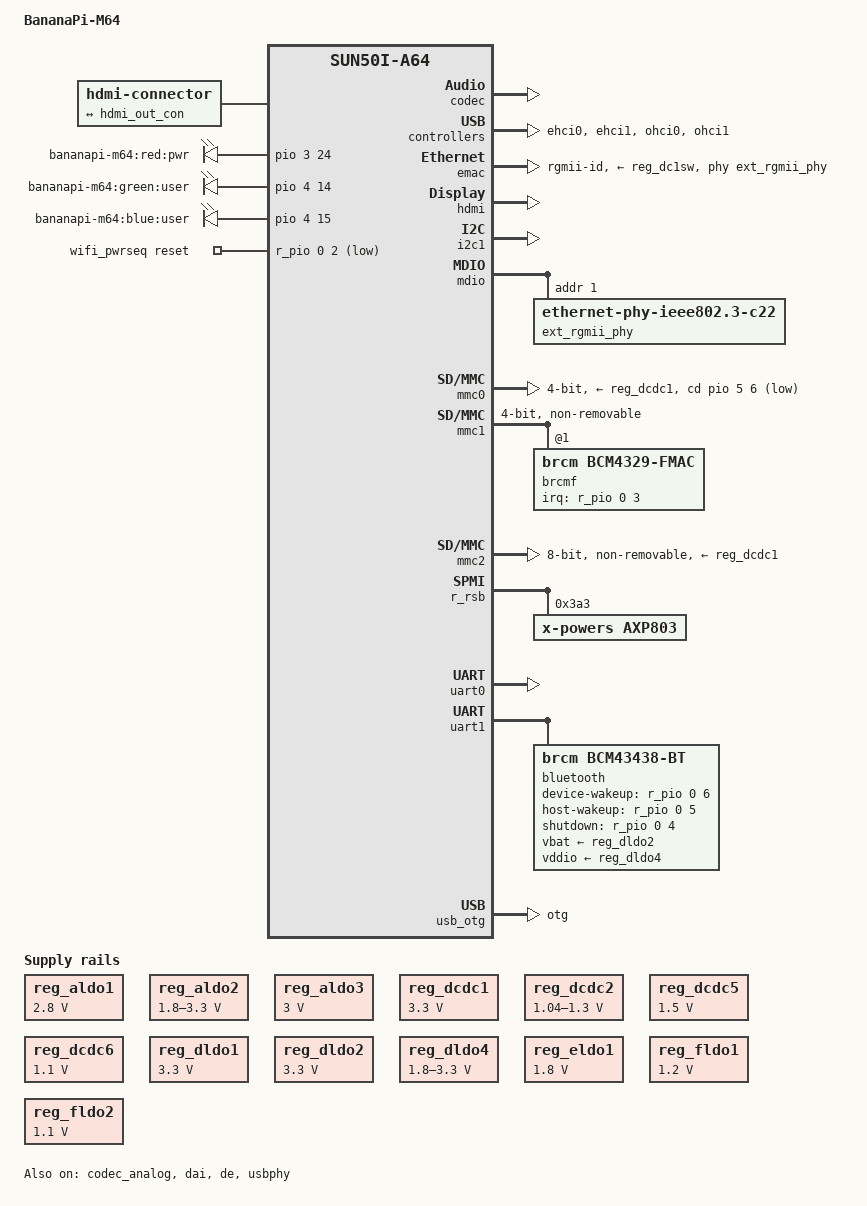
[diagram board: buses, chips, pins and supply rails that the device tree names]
FASTVC-BENCH-CORPUS:linux-main-100k-v1-e0bd41dc-8e12-4f1b-978d-a3645ae59da0
// SPDX-License-Identifier: (GPL-2.0+ OR MIT)
// Copyright (c) 2016 ARM Ltd.
/* bench 15146.0.0 e925ffc25cc7 */

/dts-v1/;

#include "sun50i-a64.dtsi"
#include "sun50i-a64-cpu-opp.dtsi"

#include <dt-bindings/gpio/gpio.h>

/ {
	model = "BananaPi-M64";
	compatible = "sinovoip,bananapi-m64", "allwinner,sun50i-a64";

	aliases {
		ethernet0 = &emac;
		serial0 = &uart0;
		serial1 = &uart1;
	};

	chosen {
		stdout-path = "serial0:115200n8";
	};

	hdmi-connector {
		compatible = "hdmi-connector";
		type = "a";

		port {
			hdmi_con_in: endpoint {
				remote-endpoint = <&hdmi_out_con>;
			};
		};
	};

	leds {
		compatible = "gpio-leds";

		led-0 {
			label = "bananapi-m64:red:pwr";
			gpios = <&pio 3 24 GPIO_ACTIVE_HIGH>; /* PD24 */
			default-state = "on";
		};

		led-1 {
			label = "bananapi-m64:green:user";
			gpios = <&pio 4 14 GPIO_ACTIVE_HIGH>; /* PE14 */
		};

		led-2 {
			label = "bananapi-m64:blue:user";
			gpios = <&pio 4 15 GPIO_ACTIVE_HIGH>; /* PE15 */
		};
	};

	wifi_pwrseq: wifi_pwrseq {
		compatible = "mmc-pwrseq-simple";
		reset-gpios = <&r_pio 0 2 GPIO_ACTIVE_LOW>; /* PL2 */
		clocks = <&rtc 1>;
		clock-names = "ext_clock";
	};
};

&codec {
	status = "okay";
};

&codec_analog {
	cpvdd-supply = <&reg_eldo1>;
	status = "okay";
};

&cpu0 {
	cpu-supply = <&reg_dcdc2>;
};

&cpu1 {
	cpu-supply = <&reg_dcdc2>;
};

&cpu2 {
	cpu-supply = <&reg_dcdc2>;
};

&cpu3 {
	cpu-supply = <&reg_dcdc2>;
};

&dai {
	status = "okay";
};

&de {
	status = "okay";
};

&ehci0 {
	status = "okay";
};

&ehci1 {
	status = "okay";
};

&emac {
	pinctrl-names = "default";
	pinctrl-0 = <&rgmii_pins>;
	phy-mode = "rgmii-id";
	phy-handle = <&ext_rgmii_phy>;
	phy-supply = <&reg_dc1sw>;
	status = "okay";
};

&hdmi {
	hvcc-supply = <&reg_dldo1>;
	status = "okay";
};

&hdmi_out {
	hdmi_out_con: endpoint {
		remote-endpoint = <&hdmi_con_in>;
	};
};

&i2c1 {
	status = "okay";
};

&i2c1_pins {
	bias-pull-up;
};
/* bench 23669.0.0 83d9597a7df4 */
/* bench 23669.0.1 63ed89d49cc1 */
/* bench 23669.0.2 2d459c6733e1 */
/* bench 23669.0.3 99776b5c7f6b */
/* bench 23669.0.4 420cbacee9f6 */
/* bench 23669.0.5 c86022beaeb6 */
/* bench 23669.0.6 f70a3897b69d */
/* bench 23669.0.7 d4cd2a5953bb */
/* bench 23669.0.8 5f84ff30eb8c */
/* bench 23669.0.9 82c03dd2ba17 */
&mdio {
	ext_rgmii_phy: ethernet-phy@1 {
		compatible = "ethernet-phy-ieee802.3-c22";
		reg = <1>;
	};
};

&mmc0 {
	pinctrl-names = "default";
	pinctrl-0 = <&mmc0_pins>;
	vmmc-supply = <&reg_dcdc1>;
	cd-gpios = <&pio 5 6 GPIO_ACTIVE_LOW>;
	disable-wp;
	bus-width = <4>;
	status = "okay";
};

&mmc1 {
/* bench 6228.2.0 a28419f7c95a */
	vqmmc-supply = <&reg_dldo4>;
	mmc-pwrseq = <&wifi_pwrseq>;
	bus-width = <4>;
	non-removable;
	status = "okay";

	brcmf: wifi@1 {
		reg = <1>;
		compatible = "brcm,bcm4329-fmac";
		interrupt-parent = <&r_pio>;
		interrupts = <0 3 IRQ_TYPE_LEVEL_LOW>; /* PL3 */
		interrupt-names = "host-wake";
	};
};

&mmc2 {
	pinctrl-names = "default";
	pinctrl-0 = <&mmc2_pins>, <&mmc2_ds_pin>;
	vmmc-supply = <&reg_dcdc1>;
	bus-width = <8>;
	non-removable;
	cap-mmc-hw-reset;
	status = "okay";
};

&ohci0 {
	status = "okay";
};

&ohci1 {
	status = "okay";
};

&r_rsb {
	status = "okay";

	axp803: pmic@3a3 {
		compatible = "x-powers,axp803";
		reg = <0x3a3>;
		interrupt-parent = <&r_intc>;
		interrupts = <0 IRQ_TYPE_LEVEL_LOW>;
		x-powers,drive-vbus-en; /* set N_VBUSEN as output pin */
	};
};

#include "axp803.dtsi"

&ac_power_supply {
	status = "okay";
};

&battery_power_supply {
	status = "okay";
};

&reg_aldo1 {
	/*
	 * This regulator also drives the PE pingroup GPIOs,
	 * which also controls two LEDs.
	 */
	regulator-always-on;
	regulator-min-microvolt = <2800000>;
	regulator-max-microvolt = <2800000>;
	regulator-name = "afvcc-csi";
};

&reg_aldo2 {
	regulator-always-on;
	regulator-min-microvolt = <1800000>;
	regulator-max-microvolt = <3300000>;
	regulator-name = "vcc-pl";
};

&reg_aldo3 {
	regulator-always-on;
	regulator-min-microvolt = <3000000>;
	regulator-max-microvolt = <3000000>;
	regulator-name = "vcc-pll-avcc";
};

&reg_dc1sw {
	/*
	 * This regulator also indirectly drives the PD pingroup GPIOs,
	 * which also controls the power LED.
	 */
	regulator-always-on;
	regulator-name = "vcc-phy";
};

&reg_dcdc1 {
	regulator-always-on;
	regulator-min-microvolt = <3300000>;
/* bench 8802.2.0 c073989569de */
/* bench 8802.2.1 e0ba7e87ad58 */
/* bench 8802.2.2 944ccc8eed7d */
/* bench 8802.2.3 456c99b3f733 */
/* bench 8802.2.4 b0a600f1c132 */
/* bench 8802.2.5 7eef0321ba84 */
/* bench 8802.2.6 c566466774ac */
/* bench 8802.2.7 b44597260942 */
/* bench 8802.2.8 0e1464167225 */
/* bench 8802.2.9 08f2e5046e02 */
/* bench 8802.2.10 4cbf759c6657 */
/* bench 8802.2.11 0a56adc86601 */
/* bench 8802.2.12 23b6c1beca33 */
/* bench 8802.2.13 44262b71cde5 */
/* bench 8802.2.14 74c17025ea60 */
/* bench 8802.2.15 4cb73e64ebcd */
/* bench 8802.2.16 59454de09c8e */
/* bench 8802.2.17 f913bf77bc35 */
/* bench 8802.2.18 de21073885c9 */
/* bench 8802.2.19 33ac7293a392 */
/* bench 8802.2.20 5f38764ed01e */
};

&reg_dcdc2 {
	regulator-always-on;
	regulator-min-microvolt = <1040000>;
	regulator-max-microvolt = <1300000>;
	regulator-name = "vdd-cpux";
};

/* DCDC3 is polyphased with DCDC2 */

&reg_dcdc5 {
	regulator-always-on;
	regulator-min-microvolt = <1500000>;
	regulator-max-microvolt = <1500000>;
	regulator-name = "vcc-dram";
};

&reg_dcdc6 {
	regulator-always-on;
	regulator-min-microvolt = <1100000>;
	regulator-max-microvolt = <1100000>;
	regulator-name = "vdd-sys";
};

&reg_dldo1 {
	regulator-min-microvolt = <3300000>;
	regulator-max-microvolt = <3300000>;
	regulator-name = "vcc-hdmi-dsi";
};

&reg_dldo2 {
	regulator-min-microvolt = <3300000>;
	regulator-max-microvolt = <3300000>;
	regulator-name = "vcc-wifi";
};

&reg_dldo4 {
	regulator-min-microvolt = <1800000>;
	regulator-max-microvolt = <3300000>;
	regulator-name = "vcc-wifi-io";
};

&reg_drivevbus {
	regulator-name = "usb0-vbus";
	status = "okay";
};

&reg_eldo1 {
	regulator-min-microvolt = <1800000>;
	regulator-max-microvolt = <1800000>;
	regulator-name = "cpvdd";
};

&reg_fldo1 {
	regulator-min-microvolt = <1200000>;
	regulator-max-microvolt = <1200000>;
	regulator-name = "vcc-1v2-hsic";
};

/*
 * The A64 chip cannot work without this regulator off, although
 * it seems to be only driving the AR100 core.
 * Maybe we don't still know well about CPUs domain.
 */
&reg_fldo2 {
	regulator-always-on;
	regulator-min-microvolt = <1100000>;
	regulator-max-microvolt = <1100000>;
	regulator-name = "vdd-cpus";
};

&reg_rtc_ldo {
	regulator-name = "vcc-rtc";
};

&simplefb_hdmi {
	vcc-hdmi-supply = <&reg_dldo1>;
};

&sound {
	status = "okay";
	simple-audio-card,widgets = "Headphone", "Headphone Jack",
				    "Microphone", "Microphone Jack",
				    "Microphone", "Onboard Microphone";
	simple-audio-card,routing =
			"Left DAC", "DACL",
			"Right DAC", "DACR",
			"ADCL", "Left ADC",
			"ADCR", "Right ADC",
			"Headphone Jack", "HP",
			"MIC2", "Microphone Jack",
			"Onboard Microphone", "MBIAS",
			"MIC1", "Onboard Microphone";
};

&uart0 {
	pinctrl-names = "default";
	pinctrl-0 = <&uart0_pb_pins>;
	status = "okay";
};

&uart1 {
	pinctrl-names = "default";
	pinctrl-0 = <&uart1_pins>, <&uart1_rts_cts_pins>;
	uart-has-rtscts;
	status = "okay";

	bluetooth {
		compatible = "brcm,bcm43438-bt";
		clocks = <&rtc 1>;
		clock-names = "lpo";
		vbat-supply = <&reg_dldo2>;
		vddio-supply = <&reg_dldo4>;
		device-wakeup-gpios = <&r_pio 0 6 GPIO_ACTIVE_HIGH>; /* PL6 */
		host-wakeup-gpios = <&r_pio 0 5 GPIO_ACTIVE_HIGH>; /* PL5 */
		shutdown-gpios = <&r_pio 0 4 GPIO_ACTIVE_HIGH>; /* PL4 */
	};
};

&usb_otg {
	dr_mode = "otg";
	status = "okay";
};

&usb_power_supply {
	status = "okay";
};

&usbphy {
	usb0_id_det-gpios = <&pio 7 9 GPIO_ACTIVE_HIGH>; /* PH9 */
/* bench 17499.2.0 24bd8f4f0c9b */
/* bench 17499.2.1 54b67dcebe28 */
/* bench 17499.2.2 b91de1d4f3e9 */
/* bench 17499.2.3 ee7fd5c5985c */
/* bench 17499.2.4 01a3e997709b */
/* bench 17499.2.5 a61c9189f0df */
/* bench 17499.2.6 6d619415468a */
/* bench 17499.2.7 12e55c7b3247 */
/* bench 17499.2.8 8459345d061e */
/* bench 17499.2.9 6062219fec26 */
/* bench 17499.2.10 c36c860b7f2d */
/* bench 17499.2.11 5e12f5eab655 */
/* bench 17499.2.12 6fdbd55da91a */
	status = "okay";
};
